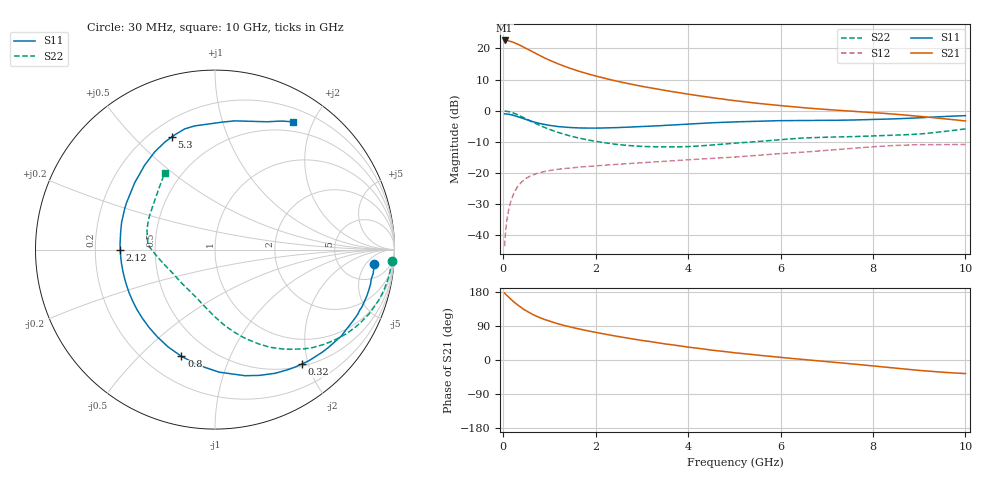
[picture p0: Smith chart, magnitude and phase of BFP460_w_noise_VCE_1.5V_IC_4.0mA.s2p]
! (c) 2016  Infineon Technologies AG, Munich
! Infineon Technologies  Discrete & RF Semiconductors
! BFP460
! VCE =  1.5 V,  IC =  4.0 mA
! Common Emitter S-Parameters:  Jan 2016
# GHz  S  MA  R  50
!  f  S11  S21  S12  S22
! GHz  MAG  ANG  MAG  ANG  MAG  ANG  MAG  ANG
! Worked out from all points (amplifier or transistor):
!   229 points, 30 MHz to 10 GHz, reference 50 ohm
!   highest |S21| = 22.6 dB at 30 MHz (marker M1)
!   |S21| within 3 dB of that: start of sweep to 549.8 MHz
!   unconditionally stable (mu >= 1): 3.253 GHz to 8.805 GHz
!   at 280 MHz: K = 0.14, MSG = 23.4 dB, |S12| = -25.1 dB
!   at 1.78 GHz: K = 0.70, MSG = 15.0 dB, |S12| = -17.9 dB
!   at 10 GHz: K = 0.97, MSG = 3.8 dB, |S12| = -10.8 dB
!   lowest NFmin = 0.75 dB at 450 MHz
!   S11 on the Smith chart (normalised r, x): 30 MHz: 11, -8; 320 MHz: 0.53, -1.89; 800 MHz: 0.35, -0.67; 2.12 GHz: 0.31, -0.00; 5.3 GHz: 0.28, +0.65; 10 GHz: 0.37, +1.73
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0.03  0.8913 -5.3  13.43 176.8  0.0067 86.7  0.987 -3.6
0.07  0.8877 -12.5  13.42 171.1  0.0154 83.2  0.9809 -8.2
0.14  0.8729 -24.4  13.1 163.2  0.0302 76.5  0.9585 -16.1
0.18  0.8569 -31.0  12.8 158.7  0.0379 72.6  0.9386 -20.5
0.26  0.8264 -43.9  12.2 150.2  0.0523 66.1  0.8949 -28.7
0.32  0.8002 -52.8  11.65 144.5  0.0614 61.5  0.856 -34.3
0.4  0.7665 -64.0  10.9 137.2  0.072 56.2  0.803 -41.2
0.5  0.7219 -76.7  9.958 129.4  0.0826 50.7  0.7381 -48.6
0.6  0.683 -88.1  9.089 122.4  0.0907 46.0  0.6786 -54.9
0.8  0.6231 -107.5  7.605 111.2  0.1021 39.2  0.5778 -65.3
1  0.5824 -123.5  6.483 102.3  0.1097 34.7  0.5021 -73.4
1.18  0.5583 -135.5  5.69 95.7  0.1147 31.9  0.4507 -79.4
1.42  0.5393 -149.3  4.875 88.0  0.12 29.3  0.399 -86.3
1.7  0.5287 -163.0  4.169 80.3  0.1253 27.3  0.3558 -93.2
2.12  0.5276 -179.9  3.425 70.1  0.1325 25.4  0.3124 -102.8
2.78  0.5481 158.5  2.654 55.9  0.1432 23.4  0.2739 -118.6
3.4  0.575 142.6  2.181 44.5  0.1532 22.1  0.2635 -133.1
5.1  0.6651 113.4  1.425 18.0  0.1827 19.3  0.3048 -167.3
5.3  0.6715 111.1  1.37 15.6  0.1875 18.9  0.3123 -169.7
6.8  0.6985 96.3  1.073 -2.0  0.225 14.3  0.3718 175.8
8.4  0.738 75.7  0.889 -20.6  0.2752 4.3  0.4039 157.4
10  0.8343 58.5  0.685 -35.9  0.2868 -7.0  0.5111 123.2
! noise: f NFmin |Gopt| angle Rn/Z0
0.45  0.75  0.4  17  0.18
0.9  0.77  0.41  35  0.18
1.9  1.06  0.21  94  0.13
3.5  1.3  0.35  -157  0.09
